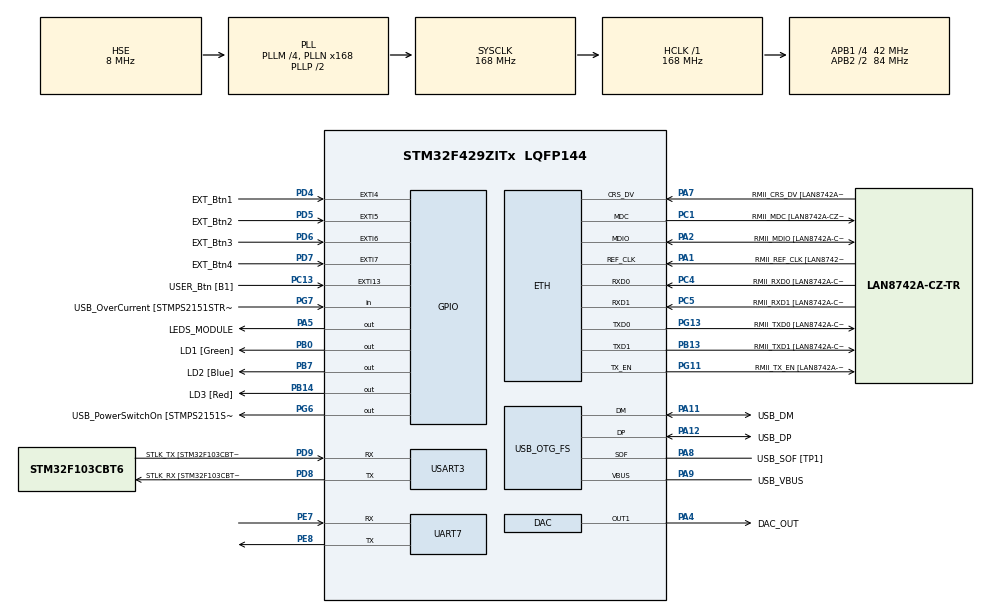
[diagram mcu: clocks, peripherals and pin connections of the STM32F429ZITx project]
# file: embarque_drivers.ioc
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Mcu.Family=STM32F4
FREERTOS.Queues01=UARTSend,16,uint16_t,0,Dynamic,NULL,NULL;UARTReception,16,uint16_t,0,Dynamic,NULL,NULL
RCC.CortexFreq_Value=168000000
PG6.Signal=GPIO_Output
PB14.GPIO_Label=LD3 [Red]
PG6.GPIO_Label=USB_PowerSwitchOn [STMPS2151STR_EN]
PA14.GPIO_Label=TCK
RCC.SYSCLKSourceVirtual=RCC_SYSCLKSOURCE_PLLCLK
PA11.Mode=Device_Only
PB0.GPIO_Label=LD1 [Green]
PC14/OSC32_IN.Mode=LSE-External-Oscillator
PC5.Mode=RMII
PC13.GPIO_Label=USER_Btn [B1]
PB13.GPIO_Label=RMII_TXD1 [LAN8742A-CZ-TR_TXD1]
PB13.Signal=ETH_TXD1
PD6.GPIO_Label=EXT_Btn3
PG13.Signal=ETH_TXD0
PD9.Mode=Asynchronous
PG11.Signal=ETH_TX_EN
RCC.SYSCLKSource=RCC_SYSCLKSOURCE_PLLCLK
ProjectManager.StackSize=0x400
VP_FREERTOS_VS_CMSIS_V2.Mode=CMSIS_V2
PA12.Signal=USB_OTG_FS_DP
ETH.PHY_Value=0
PH0/OSC_IN.Mode=HSE-External-Clock-Source
RCC.HCLKFreq_Value=168000000
PD4.Signal=GPXTI4
RCC.APB2TimFreq_Value=168000000
PH1/OSC_OUT.Signal=RCC_OSC_OUT
PD8.Signal=USART3_TX
RCC.AHBFreq_Value=168000000
RCC.HSE_VALUE=8000000
RCC.PLLMUL=RCC_PLL_MUL9
PC4.GPIO_Label=RMII_RXD0 [LAN8742A-CZ-TR_RXD0]
PA14.Mode=Serial_Wire
VP_SYS_VS_tim1.Mode=TIM1
PA10.GPIO_Label=USB_ID
PB7.Signal=GPIO_Output
PA8.Signal=USB_OTG_FS_SOF
PG13.Mode=RMII
ETH.PHY_Name=LAN8742A_PHY_ADDRESS
PH1/OSC_OUT.Mode=HSE-External-Clock-Source
PD7.GPIO_Label=EXT_Btn4
PB7.GPIO_Label=LD2 [Blue]
Mcu.Package=LQFP144
NVIC.TimeBase=TIM1_UP_TIM10_IRQn
PC14/OSC32_IN.Signal=RCC_OSC32_IN
PD5.GPIO_Label=EXT_Btn2
PA2.GPIO_Label=RMII_MDIO [LAN8742A-CZ-TR_MDIO]
NVIC.TimeBaseIP=TIM1
PA10.Signal=USB_OTG_FS_ID
USB_OTG_FS.VirtualMode=Device_Only
RCC.APB2CLKDivider=RCC_HCLK_DIV2
RCC.APB1TimFreq_Value=84000000
PG11.GPIO_Label=RMII_TX_EN [LAN8742A-CZ-TR_TXEN]
PC5.Signal=ETH_RXD1
PB13.Mode=RMII
PE7.Signal=UART7_RX
PD6.Signal=GPXTI6
PA4.GPIO_Label=DAC_OUT
PC4.Mode=RMII
SH.COMP_DAC1_group.0=DAC_OUT1,DAC_OUT1
NVIC.EXTI4_IRQn=true\:5\:0\:false\:true\:true\:2\:true\:true\:true
FREERTOS.Tasks01=defaultTask,24,128,StartDefaultTask,Default,NULL,Dynamic,NULL,NULL;myTask02,24,128,StartTask02,Default,NULL,Dynamic,NULL,NULL;myTask03,24,128,StartTask03,Default,NULL,Dynamic,NULL,NULL;myTask04,40,128,StartTask04,Default,NULL,Dynamic,NULL,NULL
PA7.Mode=RMII
PG7.Signal=GPIO_Input
PD9.GPIO_Label=STLK_TX [STM32F103CBT6_PA2]
PC13.Signal=GPXTI13
PA9.GPIO_Label=USB_VBUS
PC4.Signal=ETH_RXD0
PD7.Signal=GPXTI7
PA11.GPIO_Label=USB_DM
PD9.Signal=USART3_RX
PD5.Signal=GPXTI5
UART7.VirtualMode=Asynchronous
RCC.APB1CLKDivider=RCC_HCLK_DIV4
PG13.GPIO_Label=RMII_TXD0 [LAN8742A-CZ-TR_TXD0]
ETH.PhyAddress=0
PA12.GPIO_Label=USB_DP
PD8.GPIO_Label=STLK_RX [STM32F103CBT6_PA3]
PE8.Mode=Asynchronous
PA13.Signal=SYS_JTMS-SWDIO
PA9.Mode=Activate_VBUS
PA8.GPIO_Label=USB_SOF [TP1]
ProjectManager.TargetToolchain=TrueSTUDIO
PA9.Signal=USB_OTG_FS_VBUS
RCC.USBFreq_Value=48000000
PD8.Mode=Asynchronous
PA1.Signal=ETH_REF_CLK
PB14.Signal=GPIO_Output
PA5.Signal=GPIO_Output
board=NUCLEO-F429ZI
RCC.VCOOutputFreq_Value=336000000
PH0/OSC_IN.Signal=RCC_OSC_IN
RCC.APB2Freq_Value=84000000
PA1.Mode=RMII
RCC.PRESCALERUSB=RCC_USBCLKSOURCE_PLL_DIV1_5
PE8.Signal=UART7_TX
PD4.GPIO_Label=EXT_Btn1
PG7.GPIO_Label=USB_OverCurrent [STMPS2151STR_FAULT]
PA1.GPIO_Label=RMII_REF_CLK [LAN8742A-CZ-TR_REFCLK0]
PC1.GPIO_Label=RMII_MDC [LAN8742A-CZ-TR_MDC]
PA13.Mode=Serial_Wire
Mcu.Name=STM32F429ZITx
PA2.Signal=ETH_MDIO
PA13.GPIO_Label=TMS
RCC.APB2TimCLKDivider=2
RCC.48MHZClocksFreq_Value=48000000
PA4.Signal=COMP_DAC1_group
RCC.SYSCLKFreq_VALUE=168000000
PE7.Mode=Asynchronous
ETH.MediaInterface=ETH_MEDIA_INTERFACE_RMII
PA7.GPIO_Label=RMII_CRS_DV [LAN8742A-CZ-TR_CRS_DV]
PA12.Mode=Device_Only
PA5.GPIO_Label=LEDS_MODULE
PC5.GPIO_Label=RMII_RXD1 [LAN8742A-CZ-TR_RXD1]
USART3.VirtualMode=VM_ASYNC
PC15/OSC32_OUT.Mode=LSE-External-Oscillator
PG11.Mode=RMII
PA11.Signal=USB_OTG_FS_DM
NVIC.EXTI9_5_IRQn=true\:5\:0\:false\:true\:true\:1\:true\:true\:true
PA14.Signal=SYS_JTCK-SWCLK
ProjectManager.HeapSize=0x200
NVIC.TIM1_UP_TIM10_IRQn=true\:0\:0\:false\:false\:true\:false\:false\:true
RCC.HSI_VALUE=16000000
PH0/OSC_IN.GPIO_Label=MCO [STM32F103CBT6_PA8]
RCC.PLLQ=7
NVIC.PriorityGroup=NVIC_PRIORITYGROUP_4
RCC.PLLM=4
RCC.PLLN=168
PA2.Mode=RMII
PC15/OSC32_OUT.Signal=RCC_OSC32_OUT
PA8.Mode=Activate_SOF_FS
RCC.APB1Freq_Value=42000000
PB0.Signal=GPIO_Output
PC1.Signal=ETH_MDC
PC1.Mode=RMII
PA7.Signal=ETH_CRS_DV

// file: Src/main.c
/* USER CODE BEGIN Header */
/**
 ******************************************************************************
 * @file           : main.c
 * @brief          : Main program body
 ******************************************************************************
 * @attention
 *
 * <h2><center>&copy; Copyright (c) 2020 STMicroelectronics.
 * All rights reserved.</center></h2>
 *
 * This software component is licensed by ST under Ultimate Liberty license
 * SLA0044, the "License"; You may not use this file except in compliance with
 * the License. You may obtain a copy of the License at:
 *                             www.st.com/SLA0044
 *
 ******************************************************************************
 */
/* USER CODE END Header */

#include "main.h"
#include "cmsis_os.h"

/* USER CODE BEGIN Includes */
#include "drivers_leds.h"

/* USER CODE END Includes */

DAC_HandleTypeDef hdac;

ETH_HandleTypeDef heth;

UART_HandleTypeDef huart7;
UART_HandleTypeDef huart3;

PCD_HandleTypeDef hpcd_USB_OTG_FS;

/* Definitions for defaultTask */
osThreadId_t defaultTaskHandle;
const osThreadAttr_t defaultTask_attributes = {
		.name = "defaultTask",
		.priority = (osPriority_t) osPriorityNormal,
		.stack_size = 128 * 4
};
/* Definitions for myTask02 */
osThreadId_t myTask02Handle;
const osThreadAttr_t myTask02_attributes = {
		.name = "myTask02",
		.priority = (osPriority_t) osPriorityNormal,
		.stack_size = 128 * 4
};
/* Definitions for myTask03 */
osThreadId_t myTask03Handle;
const osThreadAttr_t myTask03_attributes = {
		.name = "myTask03",
		.priority = (osPriority_t) osPriorityHigh,
		.stack_size = 128 * 4
};
/* Definitions for myTask04 */
osThreadId_t myTask04Handle;
const osThreadAttr_t myTask04_attributes = {
		.name = "myTask04",
		.priority = (osPriority_t) osPriorityHigh,
		.stack_size = 128 * 4
};
/* Definitions for UARTSend */
osMessageQueueId_t UARTSendHandle;
const osMessageQueueAttr_t UARTSend_attributes = {
		.name = "UARTSend"
};
/* Definitions for UARTReception */
osMessageQueueId_t UARTReceptionHandle;
const osMessageQueueAttr_t UARTReception_attributes = {
		.name = "UARTReception"
};
/* USER CODE BEGIN PV */
#define FALSE 0
#define TRUE 1

#define LEFT 0
#define DOWN 1
#define RIGHT 2

int left_arrow;
int right_arrow;
int down_arrow;

/* USER CODE END PV */

void SystemClock_Config(void);
static void MX_GPIO_Init(void);
static void MX_ETH_Init(void);
static void MX_USART3_UART_Init(void);
static void MX_USB_OTG_FS_PCD_Init(void);
static void MX_DAC_Init(void);
static void MX_UART7_Init(void);
void StartDefaultTask(void *argument);
void StartTask02(void *argument);
void StartTask03(void *argument);
void StartTask04(void *argument);

static void MX_NVIC_Init(void);

int main(void)
{

	/* MCU Configuration--------------------------------------------------------*/

	/* Reset of all peripherals, Initializes the Flash interface and the Systick. */
	HAL_Init();

	/* USER CODE BEGIN Init */

	left_arrow = FALSE;
	right_arrow = FALSE;
	down_arrow = FALSE;

	/* USER CODE END Init */

	/* Configure the system clock */
	SystemClock_Config();

	/* Initialize all configured peripherals */
	MX_GPIO_Init();
	//MX_ETH_Init();
	MX_USART3_UART_Init();
	//MX_USB_OTG_FS_PCD_Init();
	MX_DAC_Init();
	MX_UART7_Init();

	/* Initialize interrupts */
	MX_NVIC_Init();

	/* Init scheduler */
	osKernelInitialize();

	/* Create the queue(s) */
	/* creation of UARTSend */
	UARTSendHandle = osMessageQueueNew (16, 5, &UARTSend_attributes);

	/* creation of UARTReception */
	UARTReceptionHandle = osMessageQueueNew (16, 10, &UARTReception_attributes);

	/* Create the thread(s) */
	/* creation of defaultTask */
	defaultTaskHandle = osThreadNew(StartDefaultTask, NULL, &defaultTask_attributes);

	/* creation of myTask02 */
	myTask02Handle = osThreadNew(StartTask02, NULL, &myTask02_attributes);

	/* creation of myTask03 */
	myTask03Handle = osThreadNew(StartTask03, NULL, &myTask03_attributes);

	/* creation of myTask04 */
	//myTask04Handle = osThreadNew(StartTask04, NULL, &myTask04_attributes);

	/* Start scheduler */
	osKernelStart();

	/* We should never get here as control is now taken by the scheduler */
	/* Infinite loop */
	while (1)
	{

	}
}

void SystemClock_Config(void)
{
	RCC_OscInitTypeDef RCC_OscInitStruct = {0};
	RCC_ClkInitTypeDef RCC_ClkInitStruct = {0};

	/** Configure the main internal regulator output voltage
	 */
	__HAL_RCC_PWR_CLK_ENABLE();
	__HAL_PWR_VOLTAGESCALING_CONFIG(PWR_REGULATOR_VOLTAGE_SCALE1);
	/** Initializes the CPU, AHB and APB busses clocks
	 */
	RCC_OscInitStruct.OscillatorType = RCC_OSCILLATORTYPE_HSE;
	RCC_OscInitStruct.HSEState = RCC_HSE_BYPASS;
	RCC_OscInitStruct.PLL.PLLState = RCC_PLL_ON;
	RCC_OscInitStruct.PLL.PLLSource = RCC_PLLSOURCE_HSE;
	RCC_OscInitStruct.PLL.PLLM = 4;
	RCC_OscInitStruct.PLL.PLLN = 168;
	RCC_OscInitStruct.PLL.PLLP = RCC_PLLP_DIV2;
	RCC_OscInitStruct.PLL.PLLQ = 7;
	if (HAL_RCC_OscConfig(&RCC_OscInitStruct) != HAL_OK)
	{
		Error_Handler();
	}
	/** Initializes the CPU, AHB and APB busses clocks
	 */
	RCC_ClkInitStruct.ClockType = RCC_CLOCKTYPE_HCLK|RCC_CLOCKTYPE_SYSCLK
			|RCC_CLOCKTYPE_PCLK1|RCC_CLOCKTYPE_PCLK2;
	RCC_ClkInitStruct.SYSCLKSource = RCC_SYSCLKSOURCE_PLLCLK;
	RCC_ClkInitStruct.AHBCLKDivider = RCC_SYSCLK_DIV1;
	RCC_ClkInitStruct.APB1CLKDivider = RCC_HCLK_DIV4;
	RCC_ClkInitStruct.APB2CLKDivider = RCC_HCLK_DIV2;

	if (HAL_RCC_ClockConfig(&RCC_ClkInitStruct, FLASH_LATENCY_5) != HAL_OK)
	{
		Error_Handler();
	}
}

/**
 * @brief NVIC Configuration.
 * @retval None
 */
static void MX_NVIC_Init(void)
{
	/* EXTI9_5_IRQn interrupt configuration */
	HAL_NVIC_SetPriority(EXTI9_5_IRQn, 5, 0);
	HAL_NVIC_EnableIRQ(EXTI9_5_IRQn);
	/* EXTI4_IRQn interrupt configuration */
	HAL_NVIC_SetPriority(EXTI4_IRQn, 5, 0);
	HAL_NVIC_EnableIRQ(EXTI4_IRQn);
}

static void MX_DAC_Init(void)
{

	DAC_ChannelConfTypeDef sConfig = {0};

	/** DAC Initialization
	 */
	hdac.Instance = DAC;
	if (HAL_DAC_Init(&hdac) != HAL_OK)
	{
		Error_Handler();
	}
	/** DAC channel OUT1 config
	 */
	sConfig.DAC_Trigger = DAC_TRIGGER_NONE;
	sConfig.DAC_OutputBuffer = DAC_OUTPUTBUFFER_ENABLE;
	if (HAL_DAC_ConfigChannel(&hdac, &sConfig, DAC_CHANNEL_1) != HAL_OK)
	{
		Error_Handler();
	}

}

static void MX_ETH_Init(void)
{

	heth.Instance = ETH;
	heth.Init.AutoNegotiation = ETH_AUTONEGOTIATION_ENABLE;
	heth.Init.PhyAddress = LAN8742A_PHY_ADDRESS;
	heth.Init.MACAddr[0] =   0x00;
	heth.Init.MACAddr[1] =   0x80;
	heth.Init.MACAddr[2] =   0xE1;
	heth.Init.MACAddr[3] =   0x00;
	heth.Init.MACAddr[4] =   0x00;
	heth.Init.MACAddr[5] =   0x00;
	heth.Init.RxMode = ETH_RXPOLLING_MODE;
	heth.Init.ChecksumMode = ETH_CHECKSUM_BY_HARDWARE;
	heth.Init.MediaInterface = ETH_MEDIA_INTERFACE_RMII;

	if (HAL_ETH_Init(&heth) != HAL_OK)
	{
		Error_Handler();
	}

}

static void MX_UART7_Init(void)
{

	huart7.Instance = UART7;
	huart7.Init.BaudRate = 115200;
	huart7.Init.WordLength = UART_WORDLENGTH_8B;
	huart7.Init.StopBits = UART_STOPBITS_1;
	huart7.Init.Parity = UART_PARITY_NONE;
	huart7.Init.Mode = UART_MODE_TX_RX;
	huart7.Init.HwFlowCtl = UART_HWCONTROL_NONE;
	huart7.Init.OverSampling = UART_OVERSAMPLING_16;
	if (HAL_UART_Init(&huart7) != HAL_OK)
	{
		Error_Handler();
	}

}

static void MX_USART3_UART_Init(void)
{

	huart3.Instance = USART3;
	huart3.Init.BaudRate = 115200;
	huart3.Init.WordLength = UART_WORDLENGTH_8B;
	huart3.Init.StopBits = UART_STOPBITS_1;
	huart3.Init.Parity = UART_PARITY_NONE;
	huart3.Init.Mode = UART_MODE_TX_RX;
	huart3.Init.HwFlowCtl = UART_HWCONTROL_NONE;
	huart3.Init.OverSampling = UART_OVERSAMPLING_16;
	if (HAL_UART_Init(&huart3) != HAL_OK)
	{
		Error_Handler();
	}

}

static void MX_USB_OTG_FS_PCD_Init(void)
{

	hpcd_USB_OTG_FS.Instance = USB_OTG_FS;
	hpcd_USB_OTG_FS.Init.dev_endpoints = 4;
	hpcd_USB_OTG_FS.Init.speed = PCD_SPEED_FULL;
	hpcd_USB_OTG_FS.Init.dma_enable = DISABLE;
	hpcd_USB_OTG_FS.Init.phy_itface = PCD_PHY_EMBEDDED;
	hpcd_USB_OTG_FS.Init.Sof_enable = ENABLE;
	hpcd_USB_OTG_FS.Init.low_power_enable = DISABLE;
	hpcd_USB_OTG_FS.Init.lpm_enable = DISABLE;
	hpcd_USB_OTG_FS.Init.vbus_sensing_enable = ENABLE;
	hpcd_USB_OTG_FS.Init.use_dedicated_ep1 = DISABLE;
	if (HAL_PCD_Init(&hpcd_USB_OTG_FS) != HAL_OK)
	{
		Error_Handler();
	}

}

static void MX_GPIO_Init(void)
{
	GPIO_InitTypeDef GPIO_InitStruct = {0};

	/* GPIO Ports Clock Enable */
	__HAL_RCC_GPIOC_CLK_ENABLE();
	__HAL_RCC_GPIOH_CLK_ENABLE();
	__HAL_RCC_GPIOA_CLK_ENABLE();
	__HAL_RCC_GPIOB_CLK_ENABLE();
	__HAL_RCC_GPIOE_CLK_ENABLE();
	__HAL_RCC_GPIOD_CLK_ENABLE();
	__HAL_RCC_GPIOG_CLK_ENABLE();

	/*Configure GPIO pin Output Level */
	HAL_GPIO_WritePin(LEDS_MODULE_GPIO_Port, LEDS_MODULE_Pin, GPIO_PIN_RESET);

	/*Configure GPIO pin Output Level */
	HAL_GPIO_WritePin(GPIOB, LD1_Pin|LD3_Pin|LD2_Pin, GPIO_PIN_RESET);

	/*Configure GPIO pin Output Level */
	HAL_GPIO_WritePin(USB_PowerSwitchOn_GPIO_Port, USB_PowerSwitchOn_Pin, GPIO_PIN_RESET);

	/*Configure GPIO pin : USER_Btn_Pin */
	GPIO_InitStruct.Pin = USER_Btn_Pin;
	GPIO_InitStruct.Mode = GPIO_MODE_IT_RISING;
	GPIO_InitStruct.Pull = GPIO_NOPULL;
	HAL_GPIO_Init(USER_Btn_GPIO_Port, &GPIO_InitStruct);

	/*Configure GPIO pin : LEDS_MODULE_Pin */
	GPIO_InitStruct.Pin = LEDS_MODULE_Pin;
	GPIO_InitStruct.Mode = GPIO_MODE_OUTPUT_PP;
	GPIO_InitStruct.Pull = GPIO_NOPULL;
	GPIO_InitStruct.Speed = GPIO_SPEED_FREQ_LOW;
	HAL_GPIO_Init(LEDS_MODULE_GPIO_Port, &GPIO_InitStruct);

	/*Configure GPIO pins : LD1_Pin LD3_Pin LD2_Pin */
	GPIO_InitStruct.Pin = LD1_Pin|LD3_Pin|LD2_Pin;
	GPIO_InitStruct.Mode = GPIO_MODE_OUTPUT_PP;
	GPIO_InitStruct.Pull = GPIO_NOPULL;
	GPIO_InitStruct.Speed = GPIO_SPEED_FREQ_LOW;
	HAL_GPIO_Init(GPIOB, &GPIO_InitStruct);

	/*Configure GPIO pin : USB_PowerSwitchOn_Pin */
	GPIO_InitStruct.Pin = USB_PowerSwitchOn_Pin;
	GPIO_InitStruct.Mode = GPIO_MODE_OUTPUT_PP;
	GPIO_InitStruct.Pull = GPIO_NOPULL;
	GPIO_InitStruct.Speed = GPIO_SPEED_FREQ_LOW;
	HAL_GPIO_Init(USB_PowerSwitchOn_GPIO_Port, &GPIO_InitStruct);

	/*Configure GPIO pin : USB_OverCurrent_Pin */
	GPIO_InitStruct.Pin = USB_OverCurrent_Pin;
	GPIO_InitStruct.Mode = GPIO_MODE_INPUT;
	GPIO_InitStruct.Pull = GPIO_NOPULL;
	HAL_GPIO_Init(USB_OverCurrent_GPIO_Port, &GPIO_InitStruct);

	/*Configure GPIO pins : EXT_Btn1_Pin EXT_Btn2_Pin EXT_Btn3_Pin EXT_Btn4_Pin */
	GPIO_InitStruct.Pin = EXT_Btn1_Pin|EXT_Btn2_Pin|EXT_Btn3_Pin|EXT_Btn4_Pin;
	GPIO_InitStruct.Mode = GPIO_MODE_IT_RISING;
	GPIO_InitStruct.Pull = GPIO_NOPULL;
	HAL_GPIO_Init(GPIOD, &GPIO_InitStruct);

}

/* USER CODE BEGIN 4 */

void HAL_GPIO_EXTI_Callback(uint16_t GPIO_Pin){ // INTERRUPTION !
	if(GPIO_Pin == EXT_Btn1_Pin){
		left_arrow = TRUE;
	}
	if(GPIO_Pin == EXT_Btn2_Pin || GPIO_Pin == EXT_Btn3_Pin){
		down_arrow = TRUE;
	}
	if(GPIO_Pin == EXT_Btn4_Pin){
		right_arrow = TRUE;
	}
}
/* USER CODE END 4 */

void StartDefaultTask(void *argument)
{
	/* USER CODE BEGIN 5 */
	/* Infinite loop */
	unsigned char UARTmessageToSend[5];
	unsigned char UARTmessageReceived[10];
	for(;;)
	{
		if (osMessageQueueGetCount(UARTSendHandle)){
			if(osMessageQueueGet(UARTSendHandle, UARTmessageToSend, 0, 10)==osOK){
				HAL_UART_Transmit(&huart7, UARTmessageToSend, 5, 10);
				osDelay(3);
			}
		}
		if(HAL_UART_Receive(&huart7, UARTmessageReceived,10, 10)==HAL_OK){
			osMessageQueuePut(UARTReceptionHandle, UARTmessageReceived, 1, 10);
		}
	}
	/* USER CODE END 5 */
}

void StartTask02(void *argument)
{
	//-----------------------------------------------------------------
	//------------------- TASK DRIVERS BUTTON--------------------------
	//-----------------------------------------------------------------

	/* USER CODE BEGIN StartTask02 */
	/* Infinite loop */

	char button_message[5] = "p3xd\n";
	for(;;)
	{
		if (left_arrow == TRUE || down_arrow == TRUE || right_arrow == TRUE){
			if(left_arrow == TRUE){
				button_message[2] ='l';
				left_arrow = FALSE;
			}
			else if (down_arrow == TRUE){
				button_message[2] ='d';
				down_arrow = FALSE;
			}
			else if(right_arrow == TRUE){
				button_message[2] ='r';
				right_arrow = FALSE;
			}
			osMessageQueuePut(UARTSendHandle, button_message, 1, 10);

		}
	}
	/* USER CODE END StartTask02 */
}

void StartTask03(void *argument)
{
	//-----------------------------------------------------------------
	//------------------- TASK DRIVERS LEDS--------------------------
	//-----------------------------------------------------------------

	/* USER CODE BEGIN StartTask03 */
	char received_frame [SIZE_RECEIVED_FRAME];
	/* Infinite loop */

	for(;;)
	{

		osMessageQueueGet(UARTReceptionHandle, received_frame, NULL, osWaitForever);
		execute_led_msg_1D(received_frame);
		osDelay(3);

	}
	/* USER CODE END StartTask03 */
}

void StartTask04(void *argument)
{
	for(;;)
	{
		osDelay(1);
	}
}

void HAL_TIM_PeriodElapsedCallback(TIM_HandleTypeDef *htim)
{
	if (htim->Instance == TIM1) {
		HAL_IncTick();
	}
}

void Error_Handler(void)
{
}

/************************ (C) COPYRIGHT STMicroelectronics *****END OF FILE****/
